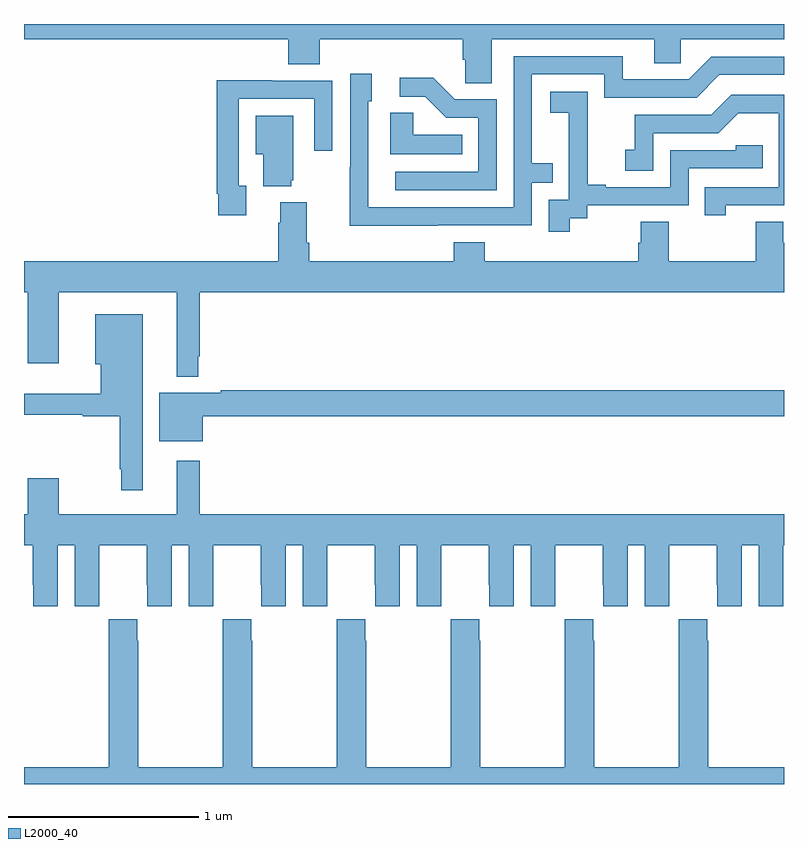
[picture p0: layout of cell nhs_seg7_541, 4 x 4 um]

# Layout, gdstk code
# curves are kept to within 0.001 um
import gdstk
lib = gdstk.Library(unit=1e-6, precision=1e-09)
def P(c, l, *ps):  # polygons
    for p in ps: c.add(gdstk.Polygon(p, *l))
L2000_40 = (2000, 40)

nhs_seg7_541 = lib.new_cell('nhs_seg7_541')
P(nhs_seg7_541, L2000_40, [(155.461,1029.92),(156.317,1029.92),(156.317,1029.793),(156.456,1029.793),(156.456,1029.92),(157,1029.92),(157,1030),(153,1030),(153,1029.92),(154.391,1029.92),(154.391,1029.787),(154.556,1029.787),(154.556,1029.92),(155.309,1029.92),(155.309,1029.811),(155.322,1029.811),(155.322,1029.688),(155.461,1029.688)],
  [(155.177,1028.94),(155.673,1028.94),(155.673,1029.165),(155.783,1029.165),(155.783,1029.266),(155.673,1029.266),(155.673,1029.735),(156.054,1029.735),(156.054,1029.612),(156.54,1029.612),(156.66,1029.732),(157,1029.732),(157,1029.828),(156.618,1029.828),(156.498,1029.708),(156.151,1029.708),(156.151,1029.831),(155.577,1029.831),(155.577,1029.036),(154.812,1029.036),(154.812,1029.594),(154.831,1029.594),(154.831,1029.739),(154.716,1029.739),(154.716,1029.245),(154.714,1029.245),(154.714,1028.939)],
  [(155.487,1029.603),(155.268,1029.603),(155.155,1029.716),(154.977,1029.716),(154.977,1029.618),(155.111,1029.618),(155.222,1029.507),(155.391,1029.507),(155.391,1029.222),(154.953,1029.222),(154.953,1029.126),(155.487,1029.126)],
  [(154.171,1029.15),(154.131,1029.15),(154.131,1029.606),(154.527,1029.606),(154.527,1029.333),(154.623,1029.333),(154.623,1029.702),(154.307,1029.702),(154.307,1029.704),(154.015,1029.704),(154.015,1029.106),(154.023,1029.106),(154.023,1028.994),(154.171,1028.994)],
  [(155.872,1028.977),(155.964,1028.977),(155.964,1029.045),(156.498,1029.045),(156.498,1029.24),(156.887,1029.24),(156.887,1029.363),(156.747,1029.363),(156.747,1029.336),(156.402,1029.336),(156.402,1029.141),(156.061,1029.141),(156.061,1029.154),(155.966,1029.154),(155.966,1029.437),(155.967,1029.437),(155.967,1029.643),(155.769,1029.643),(155.769,1029.533),(155.867,1029.533),(155.867,1029.305),(155.868,1029.305),(155.868,1029.075),(155.763,1029.075),(155.763,1028.907),(155.872,1028.907)],
  [(156.694,1029.045),(157,1029.045),(157,1029.627),(156.722,1029.627),(156.617,1029.522),(156.214,1029.522),(156.214,1029.337),(156.165,1029.337),(156.165,1029.228),(156.312,1029.228),(156.312,1029.426),(156.654,1029.426),(156.758,1029.53),(156.972,1029.53),(156.972,1029.141),(156.583,1029.141),(156.583,1028.994),(156.694,1028.994)],
  [(155.306,1029.418),(155.049,1029.418),(155.049,1029.533),(154.928,1029.533),(154.928,1029.314),(155.306,1029.314)],
  [(154.406,1029.177),(154.417,1029.177),(154.417,1029.517),(154.22,1029.517),(154.22,1029.314),(154.259,1029.314),(154.259,1029.146),(154.406,1029.146)],
  [(153.918,1028.251),(153.925,1028.251),(153.925,1028.588),(157,1028.588),(157,1028.85),(156.997,1028.85),(156.997,1028.96),(156.85,1028.96),(156.85,1028.752),(156.393,1028.752),(156.393,1028.96),(156.245,1028.96),(156.245,1028.85),(156.233,1028.85),(156.233,1028.752),(155.426,1028.752),(155.426,1028.851),(155.261,1028.851),(155.261,1028.752),(154.502,1028.752),(154.502,1028.848),(154.489,1028.848),(154.489,1029.061),(154.349,1029.061),(154.349,1028.954),(154.337,1028.954),(154.337,1028.752),(153,1028.752),(153,1028.588),(153.02,1028.588),(153.02,1028.214),(153.184,1028.214),(153.184,1028.588),(153.803,1028.588),(153.803,1028.144),(153.918,1028.144)],
  [(153.625,1028.473),(153.374,1028.473),(153.374,1028.21),(153.404,1028.21),(153.404,1028.053),(153,1028.053),(153,1027.944),(153.308,1027.944),(153.308,1027.936),(153.504,1027.936),(153.504,1027.657),(153.511,1027.657),(153.511,1027.545),(153.625,1027.545)],
  [(153.94,1027.936),(157,1027.936),(157,1028.072),(154.036,1028.072),(154.036,1028.059),(153.713,1028.059),(153.713,1027.805),(153.94,1027.805)],
  [(153.925,1027.702),(153.803,1027.702),(153.803,1027.42),(153.184,1027.42),(153.184,1027.609),(153.02,1027.609),(153.02,1027.42),(153,1027.42),(153,1027.256),(153.047,1027.256),(153.047,1027.048),(153.048,1027.048),(153.048,1026.936),(153.178,1026.936),(153.178,1027.256),(153.266,1027.256),(153.266,1026.936),(153.396,1026.936),(153.396,1027.048),(153.397,1027.048),(153.397,1027.256),(153.647,1027.256),(153.647,1027.048),(153.648,1027.048),(153.648,1026.936),(153.778,1026.936),(153.778,1027.256),(153.866,1027.256),(153.866,1026.936),(153.996,1026.936),(153.996,1027.048),(153.997,1027.048),(153.997,1027.256),(154.247,1027.256),(154.247,1027.048),(154.248,1027.048),(154.248,1026.936),(154.378,1026.936),(154.378,1027.256),(154.466,1027.256),(154.466,1026.936),(154.596,1026.936),(154.596,1027.048),(154.597,1027.048),(154.597,1027.256),(154.847,1027.256),(154.847,1027.048),(154.848,1027.048),(154.848,1026.936),(154.978,1026.936),(154.978,1027.256),(155.066,1027.256),(155.066,1026.936),(155.196,1026.936),(155.196,1027.048),(155.197,1027.048),(155.197,1027.256),(155.447,1027.256),(155.447,1027.048),(155.448,1027.048),(155.448,1026.936),(155.578,1026.936),(155.578,1027.256),(155.666,1027.256),(155.666,1026.936),(155.796,1026.936),(155.796,1027.048),(155.797,1027.048),(155.797,1027.256),(156.047,1027.256),(156.047,1027.048),(156.048,1027.048),(156.048,1026.936),(156.178,1026.936),(156.178,1027.256),(156.266,1027.256),(156.266,1026.936),(156.396,1026.936),(156.396,1027.048),(156.397,1027.048),(156.397,1027.256),(156.647,1027.256),(156.647,1027.048),(156.648,1027.048),(156.648,1026.936),(156.778,1026.936),(156.778,1027.256),(156.866,1027.256),(156.866,1026.936),(156.996,1026.936),(156.996,1027.048),(156.997,1027.048),(156.997,1027.256),(157,1027.256),(157,1027.42),(153.925,1027.42)],
  [(154.2,1026.755),(154.197,1026.755),(154.197,1026.868),(154.047,1026.868),(154.047,1026.755),(154.045,1026.755),(154.045,1026.088),(153.6,1026.088),(153.6,1026.755),(153.597,1026.755),(153.597,1026.868),(153.447,1026.868),(153.447,1026.755),(153.445,1026.755),(153.445,1026.088),(153,1026.088),(153,1026),(157,1026),(157,1026.088),(156.6,1026.088),(156.6,1026.755),(156.597,1026.755),(156.597,1026.868),(156.447,1026.868),(156.447,1026.755),(156.445,1026.755),(156.445,1026.088),(156,1026.088),(156,1026.755),(155.997,1026.755),(155.997,1026.868),(155.847,1026.868),(155.847,1026.755),(155.845,1026.755),(155.845,1026.088),(155.4,1026.088),(155.4,1026.755),(155.397,1026.755),(155.397,1026.868),(155.247,1026.868),(155.247,1026.755),(155.245,1026.755),(155.245,1026.088),(154.8,1026.088),(154.8,1026.755),(154.797,1026.755),(154.797,1026.868),(154.647,1026.868),(154.647,1026.755),(154.645,1026.755),(154.645,1026.088),(154.2,1026.088)])

lib.write_gds('nhs_seg7_541.gds')
